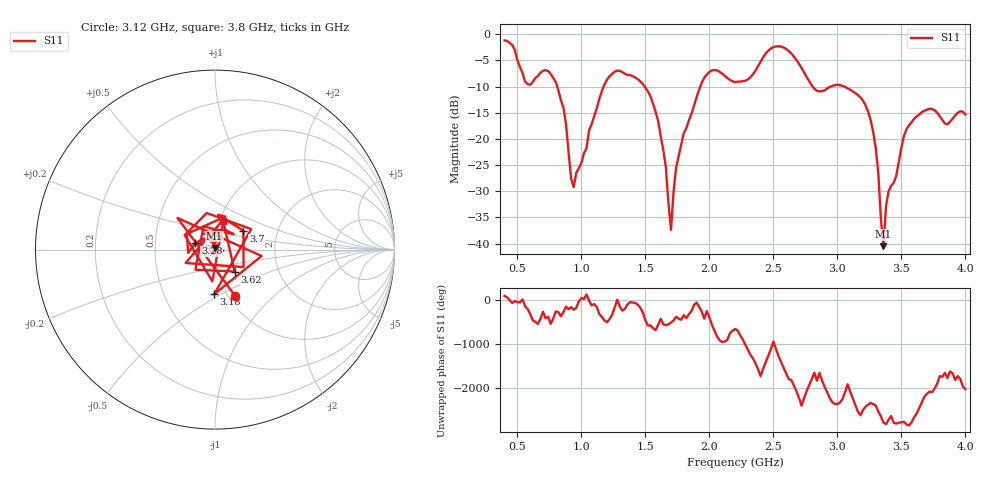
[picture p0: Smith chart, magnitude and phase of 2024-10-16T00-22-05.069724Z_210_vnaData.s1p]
! Created with skrf (http://scikit-rf.org).
# Hz S RI R 50.0
!freq ReS11 ImS11
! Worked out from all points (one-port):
!   181 points, 400 MHz to 4 GHz, reference 50 ohm
!   lowest |S11| = -40.5 dB at 3.36 GHz (marker M1), VSWR 1.02, Z = 49.7 + j0.903 ohm
!   |S11| at or under -10 dB: 810.9 MHz to 1.174 GHz (362.7 MHz wide, 36.6 % of centre); 1.494 GHz to 1.929 GHz (434.7 MHz wide, 25.4 % of centre); 3.053 GHz to end of sweep (the widest 3 of 4)
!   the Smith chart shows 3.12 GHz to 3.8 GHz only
!   S11 on the Smith chart (normalised r, x): 3.12 GHz: 1.08, -0.61; 3.18 GHz: 0.87, -0.46; 3.28 GHz: 0.80, +0.06; 3.62 GHz: 1.20, -0.30; 3.7 GHz: 1.34, +0.29; 3.8 GHz: 1.04, +0.34
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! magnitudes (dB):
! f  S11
! 400 MHz  -1.2
! 580 MHz  -9.5
! 760 MHz  -7.6
! 860 MHz  -14.1
! 940 MHz  -29.2
! 1.18 GHz  -9.6
! 1.3 GHz  -7.0
! 1.56 GHz  -13.3
! 1.66 GHz  -25.5
! 1.7 GHz  -37.4
! 1.76 GHz  -23.3
! 1.96 GHz  -8.3
! 2.2 GHz  -9.2
! 2.5 GHz  -2.5
! 2.66 GHz  -4.3
! 2.84 GHz  -10.8
! 3.1 GHz  -10.6
! 3.12 GHz  -10.9
! 3.18 GHz  -12.1
! 3.28 GHz  -18.7
! 3.32 GHz  -26.6
! 3.36 GHz  -40.5
! 3.4 GHz  -30.0
! 3.56 GHz  -17.4
! 3.62 GHz  -15.7
! 3.7 GHz  -14.4
! 3.8 GHz  -15.7
! 4 GHz  -15.3
